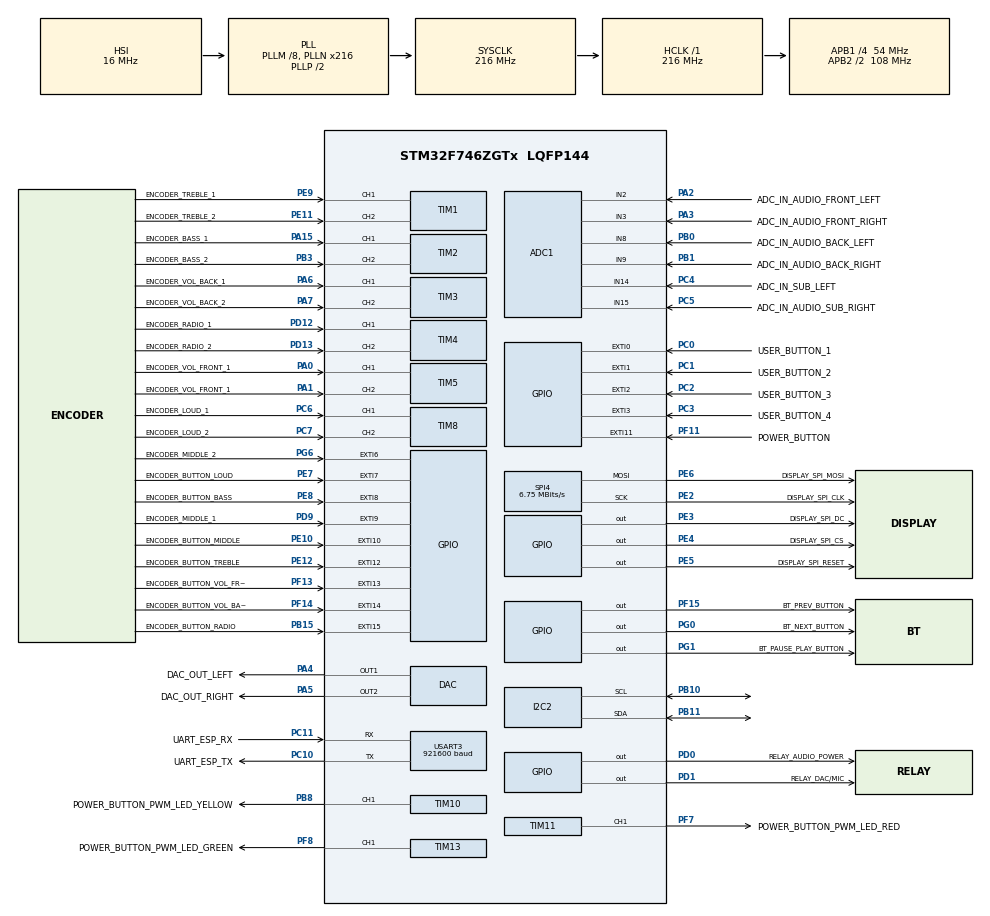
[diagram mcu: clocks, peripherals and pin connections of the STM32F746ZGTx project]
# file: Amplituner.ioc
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ADC1.Channel-0\#ChannelRegularConversion=ADC_CHANNEL_2
ADC1.NbrOfConversionFlag=1
ADC1.Rank-0\#ChannelRegularConversion=1
ADC1.SamplingTime-0\#ChannelRegularConversion=ADC_SAMPLETIME_3CYCLES
ADC1.master=1
CORTEX_M7.CPU_DCache=Enabled
CORTEX_M7.CPU_ICache=Enabled
CORTEX_M7.PREFETCH_ENABLE=1
CORTEX_M7.default_mode_Activation=1
Dma.Request0=SPI4_TX
Dma.SPI4_TX.0.Direction=DMA_MEMORY_TO_PERIPH
Dma.SPI4_TX.0.FIFOMode=DMA_FIFOMODE_DISABLE
Dma.SPI4_TX.0.Instance=DMA2_Stream1
Dma.SPI4_TX.0.MemDataAlignment=DMA_MDATAALIGN_BYTE
Dma.SPI4_TX.0.MemInc=DMA_MINC_ENABLE
Dma.SPI4_TX.0.Mode=DMA_NORMAL
Dma.SPI4_TX.0.PeriphDataAlignment=DMA_PDATAALIGN_BYTE
Dma.SPI4_TX.0.PeriphInc=DMA_PINC_DISABLE
Dma.SPI4_TX.0.Priority=DMA_PRIORITY_LOW
FREERTOS.Queues01=buttonHandlerQueue,16,Queue_ButtonEvent_t,0,Static,buttonHandlerQueueBuffer,buttonHandlerQueueControlBlock;refreshTimerQueue,16,uint8_t,0,Static,refreshTimerQueueBuffer,refreshTimerQueueControlBlock
FREERTOS.Tasks01=defaultTask,24,128,StartDefaultTask,Default,NULL,Static,defaultTaskBuffer,defaultTaskControlBlock;displayTask,40,128,displayTaskFunction,Default,NULL,Static,displayTaskBuffer,displayTaskControlBlock;buttonHandlerTa,24,128,buttonHandlerTaskFunction,Default,NULL,Static,buttonHandlerTaskBuffer,buttonHandlerTaskControlBlock;powerLEDRefresh,8,128,powerLEDRefreshFunction,Default,NULL,Static,powerLEDRefreshBuffer,powerLEDRefreshControlBlock
FREERTOS.Timers01=RefreshDisplayTimer,RefershDisplayTimer_Callback,osTimerPeriodic,Default,NULL,Static,RefreshDisplayTimerControlBlock;SavedDisplayTimer,SavedDisplayTimerCb,osTimerOnce,Default,NULL,Static,SavedDisplayTimerControlBlock
FREERTOS.configENABLE_FPU=1
FREERTOS.configUSE_NEWLIB_REENTRANT=1
I2C2.Timing=0x20404768
Mcu.Family=STM32F7
Mcu.Name=STM32F746ZGTx
Mcu.Package=LQFP144
NVIC.DMA2_Stream1_IRQn=true\:5\:0\:false\:false\:true\:true\:false\:true\:true
NVIC.EXTI0_IRQn=true\:5\:0\:false\:false\:true\:true\:true\:true\:true
NVIC.EXTI15_10_IRQn=true\:5\:0\:false\:false\:true\:true\:true\:true\:true
NVIC.EXTI1_IRQn=true\:5\:0\:false\:false\:true\:true\:true\:true\:true
NVIC.EXTI2_IRQn=true\:5\:0\:false\:false\:true\:true\:true\:true\:true
NVIC.EXTI3_IRQn=true\:5\:0\:false\:false\:true\:true\:true\:true\:true
NVIC.EXTI9_5_IRQn=true\:5\:0\:false\:false\:true\:true\:true\:true\:true
NVIC.PriorityGroup=NVIC_PRIORITYGROUP_4
NVIC.RTC_Alarm_IRQn=true\:5\:0\:false\:false\:true\:true\:true\:true\:true
NVIC.SPI4_IRQn=true\:5\:0\:false\:false\:true\:true\:true\:true\:true
NVIC.TIM1_CC_IRQn=true\:5\:0\:false\:false\:true\:true\:true\:true\:true
NVIC.TIM2_IRQn=true\:5\:0\:false\:false\:true\:true\:true\:true\:true
NVIC.TIM3_IRQn=true\:5\:0\:false\:false\:true\:true\:true\:true\:true
NVIC.TIM4_IRQn=true\:5\:0\:false\:false\:true\:true\:true\:true\:true
NVIC.TIM5_IRQn=true\:5\:0\:false\:false\:true\:true\:true\:true\:true
NVIC.TIM6_DAC_IRQn=true\:5\:0\:false\:false\:true\:false\:false\:true\:true
NVIC.TIM8_CC_IRQn=true\:5\:0\:false\:false\:true\:true\:true\:true\:true
NVIC.TimeBase=TIM6_DAC_IRQn
NVIC.TimeBaseIP=TIM6
PA0/WKUP.GPIO_Label=ENCODER_VOL_FRONT_1
PA0/WKUP.Signal=S_TIM5_CH1
PA1.GPIO_Label=ENCODER_VOL_FRONT_1
PA1.Signal=S_TIM5_CH2
PA13.Mode=Serial_Wire
PA13.Signal=SYS_JTMS-SWDIO
PA14.Mode=Serial_Wire
PA14.Signal=SYS_JTCK-SWCLK
PA15.GPIO_Label=ENCODER_BASS_1
PA15.Signal=S_TIM2_CH1_ETR
PA2.GPIO_Label=ADC_IN_AUDIO_FRONT_LEFT
PA2.Signal=ADCx_IN2
PA3.GPIO_Label=ADC_IN_AUDIO_FRONT_RIGHT
PA3.Signal=ADCx_IN3
PA4.GPIO_Label=DAC_OUT_LEFT
PA4.Signal=COMP_DAC1_group
PA5.GPIO_Label=DAC_OUT_RIGHT
PA5.Signal=COMP_DAC2_group
PA6.GPIO_Label=ENCODER_VOL_BACK_1
PA6.Signal=S_TIM3_CH1
PA7.GPIO_Label=ENCODER_VOL_BACK_2
PA7.Signal=S_TIM3_CH2
PB0.GPIO_Label=ADC_IN_AUDIO_BACK_LEFT
PB0.Signal=ADCx_IN8
PB1.GPIO_Label=ADC_IN_AUDIO_BACK_RIGHT
PB1.Signal=ADCx_IN9
PB10.Mode=I2C
PB10.Signal=I2C2_SCL
PB11.Mode=I2C
PB11.Signal=I2C2_SDA
PB15.GPIO_Label=ENCODER_BUTTON_RADIO
PB15.GPIO_ModeDefaultEXTI=GPIO_MODE_IT_RISING_FALLING
PB15.GPIO_PuPd=GPIO_PULLUP
PB15.Signal=GPXTI15
PB3.GPIO_Label=ENCODER_BASS_2
PB3.Signal=S_TIM2_CH2
PB8.GPIO_Label=POWER_BUTTON_PWM_LED_YELLOW
PB8.Signal=S_TIM10_CH1
PC0.GPIO_Label=USER_BUTTON_1
PC0.GPIO_ModeDefaultEXTI=GPIO_MODE_IT_RISING_FALLING
PC0.GPIO_PuPd=GPIO_PULLUP
PC0.Signal=GPXTI0
PC1.GPIO_Label=USER_BUTTON_2
PC1.GPIO_ModeDefaultEXTI=GPIO_MODE_IT_RISING_FALLING
PC1.GPIO_PuPd=GPIO_PULLUP
PC1.Signal=GPXTI1
PC10.GPIO_Label=UART_ESP_TX
PC10.Mode=Asynchronous
PC10.Signal=USART3_TX
PC11.GPIO_Label=UART_ESP_RX
PC11.Mode=Asynchronous
PC11.Signal=USART3_RX
PC2.GPIO_Label=USER_BUTTON_3
PC2.GPIO_ModeDefaultEXTI=GPIO_MODE_IT_RISING_FALLING
PC2.GPIO_PuPd=GPIO_PULLUP
PC2.Signal=GPXTI2
PC3.GPIO_Label=USER_BUTTON_4
PC3.GPIO_ModeDefaultEXTI=GPIO_MODE_IT_RISING_FALLING
PC3.GPIO_PuPd=GPIO_PULLUP
PC3.Signal=GPXTI3
PC4.GPIO_Label=ADC_IN_SUB_LEFT
PC4.Signal=ADCx_IN14
PC5.GPIO_Label=ADC_IN_AUDIO_SUB_RIGHT
PC5.Signal=ADCx_IN15
PC6.GPIO_Label=ENCODER_LOUD_1
PC6.Signal=S_TIM8_CH1
PC7.GPIO_Label=ENCODER_LOUD_2
PC7.Signal=S_TIM8_CH2
PD0.GPIO_Label=RELAY_AUDIO_POWER
PD0.Signal=GPIO_Output
PD1.GPIO_Label=RELAY_DAC/MIC
PD1.Signal=GPIO_Output
PD12.GPIO_Label=ENCODER_RADIO_1
PD12.Signal=S_TIM4_CH1
PD13.GPIO_Label=ENCODER_RADIO_2
PD13.Signal=S_TIM4_CH2
PD9.GPIO_Label=ENCODER_MIDDLE_1
PD9.GPIO_ModeDefaultEXTI=GPIO_MODE_IT_RISING_FALLING
PD9.Signal=GPXTI9
PE10.GPIO_Label=ENCODER_BUTTON_MIDDLE
PE10.GPIO_ModeDefaultEXTI=GPIO_MODE_IT_RISING_FALLING
PE10.GPIO_PuPd=GPIO_PULLUP
PE10.Signal=GPXTI10
PE11.GPIO_Label=ENCODER_TREBLE_2
PE11.Signal=S_TIM1_CH2
PE12.GPIO_Label=ENCODER_BUTTON_TREBLE
PE12.GPIO_ModeDefaultEXTI=GPIO_MODE_IT_RISING_FALLING
PE12.GPIO_PuPd=GPIO_PULLUP
PE12.Signal=GPXTI12
PE2.GPIO_Label=DISPLAY_SPI_CLK
PE2.GPIO_Speed=GPIO_SPEED_FREQ_VERY_HIGH
PE2.Mode=TX_Only_Simplex_Unidirect_Master
PE2.Signal=SPI4_SCK
PE3.GPIO_Label=DISPLAY_SPI_DC
PE3.Signal=GPIO_Output
PE4.GPIO_Label=DISPLAY_SPI_CS
PE4.Signal=GPIO_Output
PE5.GPIO_Label=DISPLAY_SPI_RESET
PE5.Signal=GPIO_Output
PE6.GPIO_Label=DISPLAY_SPI_MOSI
PE6.GPIO_Speed=GPIO_SPEED_FREQ_VERY_HIGH
PE6.Mode=TX_Only_Simplex_Unidirect_Master
PE6.Signal=SPI4_MOSI
PE7.GPIO_Label=ENCODER_BUTTON_LOUD
PE7.GPIO_ModeDefaultEXTI=GPIO_MODE_IT_RISING_FALLING
PE7.GPIO_PuPd=GPIO_PULLUP
PE7.Signal=GPXTI7
PE8.GPIO_Label=ENCODER_BUTTON_BASS
PE8.GPIO_ModeDefaultEXTI=GPIO_MODE_IT_RISING_FALLING
PE8.GPIO_PuPd=GPIO_PULLUP
PE8.Signal=GPXTI8
PE9.GPIO_Label=ENCODER_TREBLE_1
PE9.Signal=S_TIM1_CH1
PF11.GPIO_Label=POWER_BUTTON
PF11.GPIO_ModeDefaultEXTI=GPIO_MODE_IT_RISING_FALLING
PF11.GPIO_PuPd=GPIO_PULLUP
PF11.Signal=GPXTI11
PF13.GPIO_Label=ENCODER_BUTTON_VOL_FRONT
PF13.GPIO_ModeDefaultEXTI=GPIO_MODE_IT_RISING_FALLING
PF13.GPIO_PuPd=GPIO_PULLUP
PF13.Signal=GPXTI13
PF14.GPIO_Label=ENCODER_BUTTON_VOL_BACK
PF14.GPIO_ModeDefaultEXTI=GPIO_MODE_IT_RISING_FALLING
PF14.GPIO_PuPd=GPIO_PULLUP
PF14.Signal=GPXTI14
PF15.GPIO_Label=BT_PREV_BUTTON
PF15.Signal=GPIO_Output
PF7.GPIO_Label=POWER_BUTTON_PWM_LED_RED
PF7.Signal=S_TIM11_CH1
PF8.GPIO_Label=POWER_BUTTON_PWM_LED_GREEN
PF8.Signal=S_TIM13_CH1
PG0.GPIO_Label=BT_NEXT_BUTTON
PG0.Signal=GPIO_Output
PG1.GPIO_Label=BT_PAUSE_PLAY_BUTTON
PG1.Signal=GPIO_Output
PG6.GPIO_Label=ENCODER_MIDDLE_2
PG6.GPIO_ModeDefaultEXTI=GPIO_MODE_IT_RISING_FALLING
PG6.Signal=GPXTI6
ProjectManager.HeapSize=0x800
ProjectManager.StackSize=0x800
ProjectManager.TargetToolchain=STM32CubeIDE
RCC.AHBFreq_Value=216000000
RCC.APB1CLKDivider=RCC_HCLK_DIV4
RCC.APB1Freq_Value=54000000
RCC.APB1TimFreq_Value=108000000
RCC.APB2CLKDivider=RCC_HCLK_DIV2
RCC.APB2Freq_Value=108000000
RCC.APB2TimFreq_Value=216000000
RCC.CortexFreq_Value=216000000
RCC.HCLKFreq_Value=216000000
RCC.HSE_VALUE=25000000
RCC.HSI_VALUE=16000000
RCC.LSE_VALUE=32768
RCC.PLLM=8
RCC.PLLN=216
RCC.SYSCLKFreq_VALUE=216000000
RCC.SYSCLKSource=RCC_SYSCLKSOURCE_PLLCLK
RCC.USBFreq_Value=216000000
RCC.VCOOutputFreq_Value=432000000
RTC.Alarm-Alarm\ A=RTC_ALARM_A
RTC.Alarm_B-Alarm\ B=RTC_ALARM_B
SH.ADCx_IN14.0=ADC1_IN14,IN14
SH.ADCx_IN15.0=ADC1_IN15,IN15
SH.ADCx_IN2.0=ADC1_IN2,IN2
SH.ADCx_IN3.0=ADC1_IN3,IN3
SH.ADCx_IN8.0=ADC1_IN8,IN8
SH.ADCx_IN9.0=ADC1_IN9,IN9
SH.COMP_DAC1_group.0=DAC_OUT1,DAC_OUT1
SH.COMP_DAC2_group.0=DAC_OUT2,DAC_OUT2
SH.S_TIM10_CH1.0=TIM10_CH1,PWM Generation1 CH1
SH.S_TIM11_CH1.0=TIM11_CH1,PWM Generation1 CH1
SH.S_TIM13_CH1.0=TIM13_CH1,PWM Generation1 CH1
SH.S_TIM1_CH1.0=TIM1_CH1,Encoder_Interface
SH.S_TIM1_CH2.0=TIM1_CH2,Encoder_Interface
SH.S_TIM2_CH1_ETR.0=TIM2_CH1,Encoder_Interface
SH.S_TIM2_CH2.0=TIM2_CH2,Encoder_Interface
SH.S_TIM3_CH1.0=TIM3_CH1,Encoder_Interface
SH.S_TIM3_CH2.0=TIM3_CH2,Encoder_Interface
SH.S_TIM4_CH1.0=TIM4_CH1,Encoder_Interface
SH.S_TIM4_CH2.0=TIM4_CH2,Encoder_Interface
SH.S_TIM5_CH1.0=TIM5_CH1,Encoder_Interface
SH.S_TIM5_CH2.0=TIM5_CH2,Encoder_Interface
SH.S_TIM8_CH1.0=TIM8_CH1,Encoder_Interface
SH.S_TIM8_CH2.0=TIM8_CH2,Encoder_Interface
SPI4.BaudRatePrescaler=SPI_BAUDRATEPRESCALER_16
SPI4.CalculateBaudRate=6.75 MBits/s
SPI4.DataSize=SPI_DATASIZE_8BIT
SPI4.Direction=SPI_DIRECTION_2LINES
SPI4.Mode=SPI_MODE_MASTER
SPI4.VirtualType=VM_MASTER
TIM1.EncoderMode=TIM_ENCODERMODE_TI12
TIM10.Channel=TIM_CHANNEL_1
TIM10.Period=9999
TIM10.Prescaler=107
TIM11.Channel=TIM_CHANNEL_1
TIM11.Period=9999
TIM11.Prescaler=107
TIM13.Channel=TIM_CHANNEL_1
TIM13.Period=9999
TIM13.Prescaler=54
TIM2.EncoderMode=TIM_ENCODERMODE_TI12
TIM3.EncoderMode=TIM_ENCODERMODE_TI12
TIM4.EncoderMode=TIM_ENCODERMODE_TI12
TIM5.EncoderMode=TIM_ENCODERMODE_TI12
TIM8.EncoderMode=TIM_ENCODERMODE_TI12
USART3.BaudRate=921600
USART3.VirtualMode-Asynchronous=VM_ASYNC
VP_FREERTOS_VS_CMSIS_V2.Mode=CMSIS_V2
VP_RTC_VS_RTC_Activate.Mode=RTC_Enabled
VP_RTC_VS_RTC_Alarm_A_Intern.Mode=Alarm A
VP_RTC_VS_RTC_Alarm_B_Intern.Mode=Alarm B
VP_RTC_VS_RTC_Calendar.Mode=RTC_Calendar
VP_SYS_VS_tim6.Mode=TIM6
VP_TIM10_VS_ClockSourceINT.Mode=Enable_Timer
VP_TIM11_VS_ClockSourceINT.Mode=Enable_Timer
VP_TIM13_VS_ClockSourceINT.Mode=Enable_Timer
board=custom

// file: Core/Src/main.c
/* USER CODE BEGIN Header */
/**
  ******************************************************************************
  * @file           : main.c
  * @brief          : Main program body
  ******************************************************************************
  * @attention
  *
  * Copyright (c) 2024 STMicroelectronics.
  * All rights reserved.
  *
  * This software is licensed under terms that can be found in the LICENSE file
  * in the root directory of this software component.
  * If no LICENSE file comes with this software, it is provided AS-IS.
  *
  ******************************************************************************
  */
/* USER CODE END Header */
#include "main.h"
#include "cmsis_os.h"
#include "adc.h"
#include "dac.h"
#include "dma.h"
#include "i2c.h"
#include "rtc.h"
#include "spi.h"
#include "tim.h"
#include "usart.h"
#include "gpio.h"

/* USER CODE BEGIN Includes */
#include "Display_API.h"
#include "RDA5807m.h"
#include "TDA7719.h"
#include "hal_encoders.h"
/* USER CODE END Includes */

void SystemClock_Config(void);
static void MPU_Config(void);
void MX_FREERTOS_Init(void);

int main(void)
{

  /* MPU Configuration--------------------------------------------------------*/
  MPU_Config();

  /* Enable the CPU Cache */

  /* Enable I-Cache---------------------------------------------------------*/
  SCB_EnableICache();

  /* Enable D-Cache---------------------------------------------------------*/
  SCB_EnableDCache();

  /* MCU Configuration--------------------------------------------------------*/

  /* Reset of all peripherals, Initializes the Flash interface and the Systick. */
  HAL_Init();

  /* Configure the system clock */
  SystemClock_Config();

  /* Initialize all configured peripherals */
  MX_GPIO_Init();
  MX_DMA_Init();
  MX_I2C2_Init();
  MX_SPI4_Init();
  MX_RTC_Init();
  MX_TIM1_Init();
  MX_TIM2_Init();
  MX_TIM3_Init();
  MX_TIM4_Init();
  MX_TIM5_Init();
  MX_TIM8_Init();
  MX_ADC1_Init();
  MX_DAC_Init();
  MX_USART3_UART_Init();
  MX_TIM10_Init();
  MX_TIM11_Init();
  MX_TIM13_Init();
  /* USER CODE BEGIN 2 */
  //EEPROM_ReadDeviceDataAtStart();
  RDA5807_Init();
  RDA5807_PowerOn();
  HAL_Encoders_Init();
  TDA7719_init();
  /* USER CODE END 2 */

  /* Init scheduler */
  osKernelInitialize();

  /* Call init function for freertos objects (in cmsis_os2.c) */
  MX_FREERTOS_Init();

  /* Start scheduler */
  osKernelStart();

  /* We should never get here as control is now taken by the scheduler */

  /* Infinite loop */
  while (1)
  {

  }
}

void SystemClock_Config(void)
{
  RCC_OscInitTypeDef RCC_OscInitStruct = {0};
  RCC_ClkInitTypeDef RCC_ClkInitStruct = {0};

  /** Configure the main internal regulator output voltage
  */
  __HAL_RCC_PWR_CLK_ENABLE();
  __HAL_PWR_VOLTAGESCALING_CONFIG(PWR_REGULATOR_VOLTAGE_SCALE1);

  /** Initializes the RCC Oscillators according to the specified parameters
  * in the RCC_OscInitTypeDef structure.
  */
  RCC_OscInitStruct.OscillatorType = RCC_OSCILLATORTYPE_HSI|RCC_OSCILLATORTYPE_LSI;
  RCC_OscInitStruct.HSIState = RCC_HSI_ON;
  RCC_OscInitStruct.HSICalibrationValue = RCC_HSICALIBRATION_DEFAULT;
  RCC_OscInitStruct.LSIState = RCC_LSI_ON;
  RCC_OscInitStruct.PLL.PLLState = RCC_PLL_ON;
  RCC_OscInitStruct.PLL.PLLSource = RCC_PLLSOURCE_HSI;
  RCC_OscInitStruct.PLL.PLLM = 8;
  RCC_OscInitStruct.PLL.PLLN = 216;
  RCC_OscInitStruct.PLL.PLLP = RCC_PLLP_DIV2;
  RCC_OscInitStruct.PLL.PLLQ = 2;
  if (HAL_RCC_OscConfig(&RCC_OscInitStruct) != HAL_OK)
  {
    Error_Handler();
  }

  /** Activate the Over-Drive mode
  */
  if (HAL_PWREx_EnableOverDrive() != HAL_OK)
  {
    Error_Handler();
  }

  /** Initializes the CPU, AHB and APB buses clocks
  */
  RCC_ClkInitStruct.ClockType = RCC_CLOCKTYPE_HCLK|RCC_CLOCKTYPE_SYSCLK
                              |RCC_CLOCKTYPE_PCLK1|RCC_CLOCKTYPE_PCLK2;
  RCC_ClkInitStruct.SYSCLKSource = RCC_SYSCLKSOURCE_PLLCLK;
  RCC_ClkInitStruct.AHBCLKDivider = RCC_SYSCLK_DIV1;
  RCC_ClkInitStruct.APB1CLKDivider = RCC_HCLK_DIV4;
  RCC_ClkInitStruct.APB2CLKDivider = RCC_HCLK_DIV2;

  if (HAL_RCC_ClockConfig(&RCC_ClkInitStruct, FLASH_LATENCY_7) != HAL_OK)
  {
    Error_Handler();
  }
}

 /* MPU Configuration */

void MPU_Config(void)
{
  MPU_Region_InitTypeDef MPU_InitStruct = {0};

  /* Disables the MPU */
  HAL_MPU_Disable();

  /** Initializes and configures the Region and the memory to be protected
  */
  MPU_InitStruct.Enable = MPU_REGION_ENABLE;
  MPU_InitStruct.Number = MPU_REGION_NUMBER0;
  MPU_InitStruct.BaseAddress = 0x0;
  MPU_InitStruct.Size = MPU_REGION_SIZE_4GB;
  MPU_InitStruct.SubRegionDisable = 0x87;
  MPU_InitStruct.TypeExtField = MPU_TEX_LEVEL0;
  MPU_InitStruct.AccessPermission = MPU_REGION_NO_ACCESS;
  MPU_InitStruct.DisableExec = MPU_INSTRUCTION_ACCESS_DISABLE;
  MPU_InitStruct.IsShareable = MPU_ACCESS_SHAREABLE;
  MPU_InitStruct.IsCacheable = MPU_ACCESS_NOT_CACHEABLE;
  MPU_InitStruct.IsBufferable = MPU_ACCESS_NOT_BUFFERABLE;

  HAL_MPU_ConfigRegion(&MPU_InitStruct);
  /* Enables the MPU */
  HAL_MPU_Enable(MPU_PRIVILEGED_DEFAULT);

}

void HAL_TIM_PeriodElapsedCallback(TIM_HandleTypeDef *htim)
{
  if (htim->Instance == TIM6) {
    HAL_IncTick();
  }
}

void Error_Handler(void)
{
  __disable_irq();
  while (1)
  {
  }
}

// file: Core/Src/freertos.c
/* USER CODE BEGIN Header */
/**
  ******************************************************************************
  * File Name          : freertos.c
  * Description        : Code for freertos applications
  ******************************************************************************
  * @attention
  *
  * Copyright (c) 2024 STMicroelectronics.
  * All rights reserved.
  *
  * This software is licensed under terms that can be found in the LICENSE file
  * in the root directory of this software component.
  * If no LICENSE file comes with this software, it is provided AS-IS.
  *
  ******************************************************************************
  */
/* USER CODE END Header */

#include "FreeRTOS.h"
#include "task.h"
#include "main.h"
#include "cmsis_os.h"

/* USER CODE BEGIN Includes */
#include "display_api.h"
#include "hal_buttons.h"
#include "hal_butt_pwr_LEDs.h"
/* USER CODE END Includes */

typedef StaticTask_t osStaticThreadDef_t;
typedef StaticQueue_t osStaticMessageQDef_t;
typedef StaticTimer_t osStaticTimerDef_t;

/* Definitions for defaultTask */
osThreadId_t defaultTaskHandle;
uint32_t defaultTaskBuffer[ 128 ];
osStaticThreadDef_t defaultTaskControlBlock;
const osThreadAttr_t defaultTask_attributes = {
  .name = "defaultTask",
  .cb_mem = &defaultTaskControlBlock,
  .cb_size = sizeof(defaultTaskControlBlock),
  .stack_mem = &defaultTaskBuffer[0],
  .stack_size = sizeof(defaultTaskBuffer),
  .priority = (osPriority_t) osPriorityNormal,
};
/* Definitions for displayTask */
osThreadId_t displayTaskHandle;
uint32_t displayTaskBuffer[ 128 ];
osStaticThreadDef_t displayTaskControlBlock;
const osThreadAttr_t displayTask_attributes = {
  .name = "displayTask",
  .cb_mem = &displayTaskControlBlock,
  .cb_size = sizeof(displayTaskControlBlock),
  .stack_mem = &displayTaskBuffer[0],
  .stack_size = sizeof(displayTaskBuffer),
  .priority = (osPriority_t) osPriorityHigh,
};
/* Definitions for buttonHandlerTa */
osThreadId_t buttonHandlerTaHandle;
uint32_t buttonHandlerTaskBuffer[ 128 ];
osStaticThreadDef_t buttonHandlerTaskControlBlock;
const osThreadAttr_t buttonHandlerTa_attributes = {
  .name = "buttonHandlerTa",
  .cb_mem = &buttonHandlerTaskControlBlock,
  .cb_size = sizeof(buttonHandlerTaskControlBlock),
  .stack_mem = &buttonHandlerTaskBuffer[0],
  .stack_size = sizeof(buttonHandlerTaskBuffer),
  .priority = (osPriority_t) osPriorityNormal,
};
/* Definitions for powerLEDRefresh */
osThreadId_t powerLEDRefreshHandle;
uint32_t powerLEDRefreshBuffer[ 128 ];
osStaticThreadDef_t powerLEDRefreshControlBlock;
const osThreadAttr_t powerLEDRefresh_attributes = {
  .name = "powerLEDRefresh",
  .cb_mem = &powerLEDRefreshControlBlock,
  .cb_size = sizeof(powerLEDRefreshControlBlock),
  .stack_mem = &powerLEDRefreshBuffer[0],
  .stack_size = sizeof(powerLEDRefreshBuffer),
  .priority = (osPriority_t) osPriorityLow,
};
/* Definitions for buttonHandlerQueue */
osMessageQueueId_t buttonHandlerQueueHandle;
uint8_t buttonHandlerQueueBuffer[ 16 * sizeof( Queue_ButtonEvent_t ) ];
osStaticMessageQDef_t buttonHandlerQueueControlBlock;
const osMessageQueueAttr_t buttonHandlerQueue_attributes = {
  .name = "buttonHandlerQueue",
  .cb_mem = &buttonHandlerQueueControlBlock,
  .cb_size = sizeof(buttonHandlerQueueControlBlock),
  .mq_mem = &buttonHandlerQueueBuffer,
  .mq_size = sizeof(buttonHandlerQueueBuffer)
};
/* Definitions for refreshTimerQueue */
osMessageQueueId_t refreshTimerQueueHandle;
uint8_t refreshTimerQueueBuffer[ 16 * sizeof( uint8_t ) ];
osStaticMessageQDef_t refreshTimerQueueControlBlock;
const osMessageQueueAttr_t refreshTimerQueue_attributes = {
  .name = "refreshTimerQueue",
  .cb_mem = &refreshTimerQueueControlBlock,
  .cb_size = sizeof(refreshTimerQueueControlBlock),
  .mq_mem = &refreshTimerQueueBuffer,
  .mq_size = sizeof(refreshTimerQueueBuffer)
};
/* Definitions for RefreshDisplayTimer */
osTimerId_t RefreshDisplayTimerHandle;
osStaticTimerDef_t RefreshDisplayTimerControlBlock;
const osTimerAttr_t RefreshDisplayTimer_attributes = {
  .name = "RefreshDisplayTimer",
  .cb_mem = &RefreshDisplayTimerControlBlock,
  .cb_size = sizeof(RefreshDisplayTimerControlBlock),
};
/* Definitions for SavedDisplayTimer */
osTimerId_t SavedDisplayTimerHandle;
osStaticTimerDef_t SavedDisplayTimerControlBlock;
const osTimerAttr_t SavedDisplayTimer_attributes = {
  .name = "SavedDisplayTimer",
  .cb_mem = &SavedDisplayTimerControlBlock,
  .cb_size = sizeof(SavedDisplayTimerControlBlock),
};

void StartDefaultTask(void *argument);
void displayTaskFunction(void *argument);
void buttonHandlerTaskFunction(void *argument);
void powerLEDRefreshFunction(void *argument);
void RefershDisplayTimer_Callback(void *argument);
void SavedDisplayTimerCb(void *argument);

void MX_FREERTOS_Init(void); /* (MISRA C 2004 rule 8.1) */

void MX_FREERTOS_Init(void) {

  /* Create the timer(s) */
  /* creation of RefreshDisplayTimer */
  RefreshDisplayTimerHandle = osTimerNew(RefershDisplayTimer_Callback, osTimerPeriodic, NULL, &RefreshDisplayTimer_attributes);

  /* creation of SavedDisplayTimer */
  SavedDisplayTimerHandle = osTimerNew(SavedDisplayTimerCb, osTimerOnce, NULL, &SavedDisplayTimer_attributes);

  /* Create the queue(s) */
  /* creation of buttonHandlerQueue */
  buttonHandlerQueueHandle = osMessageQueueNew (16, sizeof(Queue_ButtonEvent_t), &buttonHandlerQueue_attributes);

  /* creation of refreshTimerQueue */
  refreshTimerQueueHandle = osMessageQueueNew (16, sizeof(uint8_t), &refreshTimerQueue_attributes);

  /* Create the thread(s) */
  /* creation of defaultTask */
  defaultTaskHandle = osThreadNew(StartDefaultTask, NULL, &defaultTask_attributes);

  /* creation of displayTask */
  displayTaskHandle = osThreadNew(displayTaskFunction, NULL, &displayTask_attributes);

  /* creation of buttonHandlerTa */
  buttonHandlerTaHandle = osThreadNew(buttonHandlerTaskFunction, NULL, &buttonHandlerTa_attributes);

  /* creation of powerLEDRefresh */
  powerLEDRefreshHandle = osThreadNew(powerLEDRefreshFunction, NULL, &powerLEDRefresh_attributes);

}

void StartDefaultTask(void *argument)
{
  /* USER CODE BEGIN StartDefaultTask */
	uint32_t temp = 0;
  /* Infinite loop */
  for(;;)
  {
		if(osMessageQueueGet(refreshTimerQueueHandle, &temp, 0U, 10U) == osOK)
		{
			osTimerStart(SavedDisplayTimerHandle, pdMS_TO_TICKS(Display_Controls.AutoChangeToSavedTime_ms));
		}

    osDelay(10);
  }
  /* USER CODE END StartDefaultTask */
}

void displayTaskFunction(void *argument)
{
  /* USER CODE BEGIN displayTaskFunction */
  AppDisplay_OnInitTask();
  /* Infinite loop */
  for(;;)
  {
	AppDisplay_RefreshDisplayTask();
    osDelay(pdMS_TO_TICKS(Display_Controls.Refresh_Hz));
    //osDelay(5);
  }
  /* USER CODE END displayTaskFunction */
}

void buttonHandlerTaskFunction(void *argument)
{
  /* USER CODE BEGIN buttonHandlerTaskFunction */
  /* Infinite loop */
  for(;;)
  {
	AppButtons_EventHandler();
    osDelay(10);
  }
  /* USER CODE END buttonHandlerTaskFunction */
}

void powerLEDRefreshFunction(void *argument)
{
  /* USER CODE BEGIN powerLEDRefreshFunction */
	HAL_PowerButtonLEDs_Init();
  /* Infinite loop */
  for(;;)
  {
	HAL_PowerButtonLEDs_Task();
    osDelay(20);
  }
  /* USER CODE END powerLEDRefreshFunction */
}

/* RefershDisplayTimer_Callback function */
void RefershDisplayTimer_Callback(void *argument)
{
}

/* SavedDisplayTimerCb function */
void SavedDisplayTimerCb(void *argument)
{
  /* USER CODE BEGIN SavedDisplayTimerCb */
	AppDisplay_SetDisplayState(AppDisplay_GetSavedDisplayState());
  /* USER CODE END SavedDisplayTimerCb */
}
